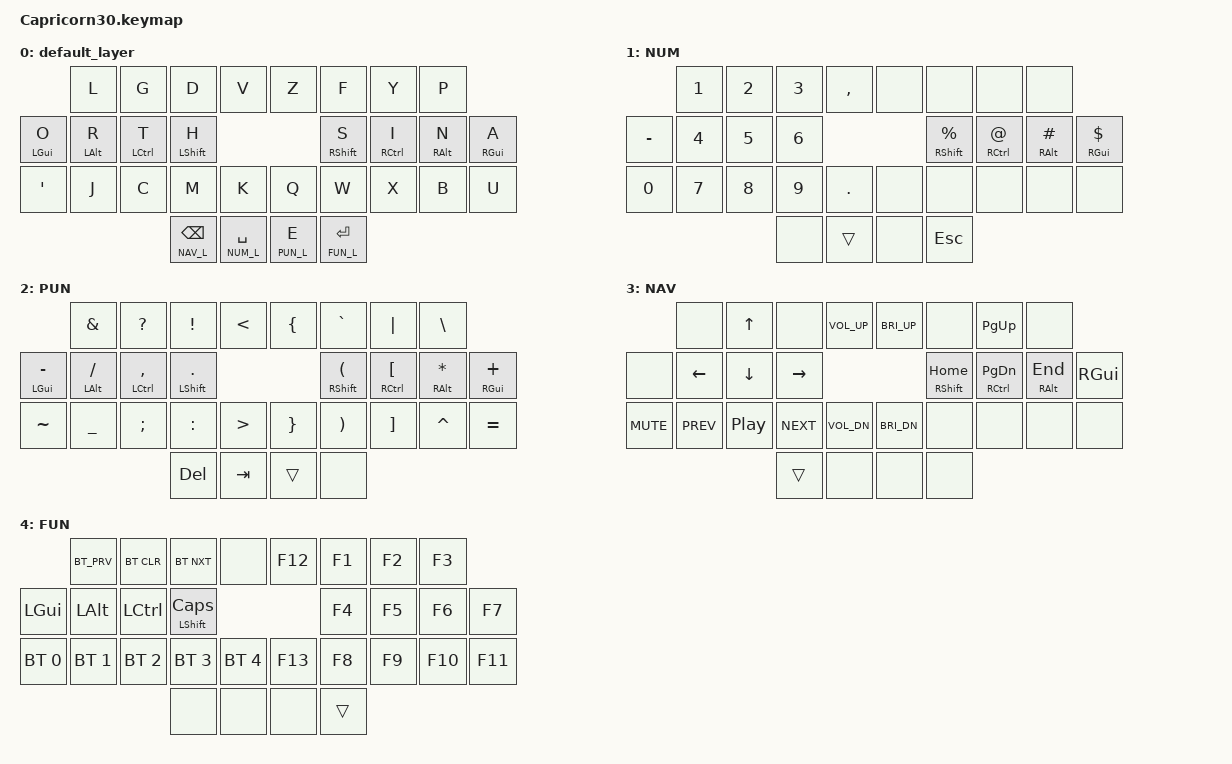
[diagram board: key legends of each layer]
/*
 * Copyright (c) 2022 The ZMK Contributors
 *
 * SPDX-License-Identifier: MIT
 */

#include <behaviors.dtsi>
#include <dt-bindings/zmk/keys.h>

#define DEF_L 0
#define NUM_L 1
#define PUN_L 2
#define NAV_L 3
#define FUN_L 4

// Using layer taps on thumbs, having quick tap as well helps w/ repeating space/backspace
&lt { quick_tap_ms = <160>; };

/ {
    behaviors {
        hm: homerow_mods {
            compatible = "zmk,behavior-hold-tap";
            label = "homerow mods";
            #binding-cells = <2>;
            tapping_term_ms = <160>;
            flavor = "tap-preferred";
            bindings = <&kp>, <&kp>;
        };
    };

    keymap {
        compatible = "zmk,keymap";

        default_layer {
            bindings = <
                            &kp L       &kp G        &kp D           &kp V            &kp Z        &kp F          &kp Y        &kp P
                &hm LGUI O  &hm LALT R  &hm LCTRL T  &hm LSHFT H                                   &hm RSHFT S    &hm RCTRL I  &hm RALT N  &hm RGUI A
                &kp QUOT    &kp J       &kp C        &kp M           &kp K            &kp Q        &kp W          &kp X        &kp B       &kp U
                                                     &lt NAV_L BKSP  &lt NUM_L SPACE  &lt PUN_L E  &lt FUN_L RET
            >;
        };

        numpad_layer {
            label = "NUM";
            bindings = <
                           &kp N1  &kp N2  &kp N3   &kp COMMA  &none   &none            &none         &none
                &kp MINUS  &kp N4  &kp N5  &kp N6                      &hm RSHFT PRCNT  &hm RCTRL AT  &hm RALT HASH  &hm RGUI DLLR
                &kp N0     &kp N7  &kp N8  &kp N9   &kp DOT    &none   &none            &none         &none          &none
                                           &none    &trans     &none   &kp ESC
            >;
        };

        punctuation_layer {
            label = "PUN";
            bindings = <
                                &kp AMPS       &kp QMARK        &kp EXCL       &kp LT   &kp LBRC  &kp GRAVE       &kp PIPE        &kp BSLH
                &hm LGUI MINUS  &hm LALT FSLH  &hm LCTRL COMMA  &hm LSHFT DOT                     &hm RSHFT LPAR  &hm RCTRL LBKT  &hm RALT ASTRK  &hm RGUI PLUS
                &kp TILDE       &kp UNDER      &kp SEMI         &kp COLON      &kp GT   &kp RBRC  &kp RPAR        &kp RBKT        &kp CARET       &kp EQUAL
                                                                &kp DEL        &kp TAB  &trans    &none
            >;
        };

        navigation_layer {
            label = "NAV";
            bindings = <
                            &none       &kp UP    &none       &kp C_VOL_UP  &kp C_BRI_UP  &none           &kp PG_UP        &none
                &none       &kp LEFT    &kp DOWN  &kp RIGHT                               &hm RSHFT HOME  &hm RCTRL PG_DN  &hm RALT END  &kp RGUI
                &kp C_MUTE  &kp C_PREV  &kp C_PP  &kp C_NEXT  &kp C_VOL_DN  &kp C_BRI_DN  &none           &none            &none         &none
                                                  &trans      &none         &none         &none
            >;
        };

        function_layer {
            label = "FUN";
            bindings = <
                              &kp BT_PRV    &bt BT_CLR    &bt BT_NXT      &none         &kp F12  &kp F1  &kp F2  &kp F3
                &kp LGUI      &kp LALT      &kp LCTRL     &hm LSHFT CAPS                         &kp F4  &kp F5  &kp F6   &kp F7
                &bt BT_SEL 0  &bt BT_SEL 1  &bt BT_SEL 2  &bt BT_SEL 3    &bt BT_SEL 4  &kp F13  &kp F8  &kp F9  &kp F10  &kp F11
                                                          &none           &none         &none    &trans
            >;
        };
    };
};
